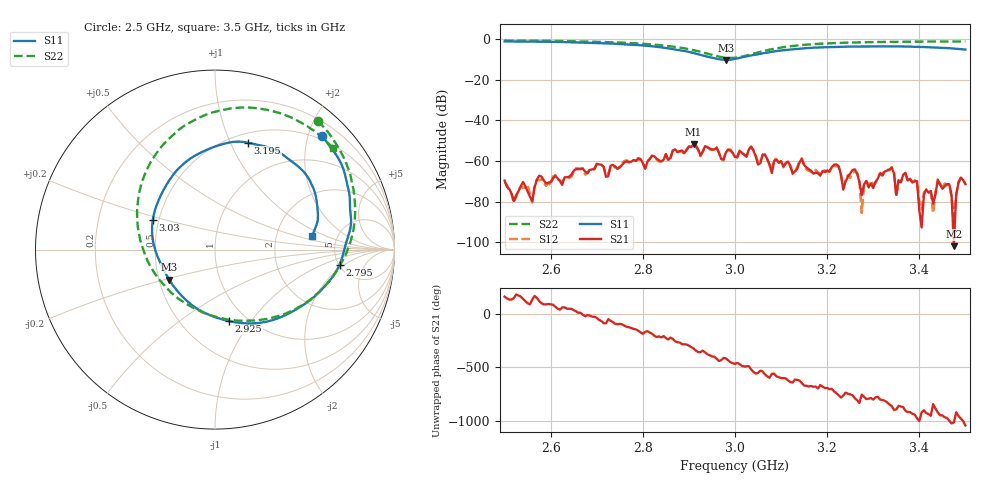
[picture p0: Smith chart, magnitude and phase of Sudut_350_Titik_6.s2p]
# Hz S RI R 50
! CMT, C1220, 16058040, 17.2.0/1
! Date: 15/08/2018 10:20:42
! Data: Format (Calibration Info)
! Freq  S11: Re/Im (F2)  S21: Re/Im (F2)  S12: Re/Im (F2)  S22: Re/Im (F2)
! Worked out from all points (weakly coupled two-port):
!   201 points, 2.5 GHz to 3.5 GHz, reference 50 ohm
!   highest |S21| = -51.90 dB at 2.91 GHz (marker M1); lowest = -101.9 dB at 3.475 GHz (marker M2)
!   lowest |S11| = -10.3 dB at 2.98 GHz (marker M3), VSWR 1.88, Z = 28.3 - j10.5 ohm
!   |S11| at or under -10 dB: 2.966 GHz to 2.996 GHz (29.37 MHz wide, 0.985 % of centre)
!   |S22| runs from -9.3 to -0.7 dB; largest |S21 - S12| = 0.00016
!   S11 on the Smith chart (normalised r, x): 2.5 GHz: 0.43, +2.24; 2.795 GHz: 5.09, -1.67; 2.925 GHz: 0.83, -0.79; 3.03 GHz: 0.46, +0.18; 3.195 GHz: 0.60, +1.16; 3.5 GHz: 3.24, +0.72
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2.5e9  0.5955 0.6341  -0.000304 0.000125  -0.000287 8.52e-05  0.5728 0.7168
2.56e9  0.6588 0.5506  -6.64e-05 7.77e-05  -8.08e-05 5.05e-05  0.6396 0.6414
2.575e9  0.6776 0.5247  -0.000197 0.000386  -0.000114 0.000314  0.6555 0.6185
2.67e9  0.747 0.3193  0.000627 -0.000131  0.00062 -0.000214  0.7447 0.4443
2.795e9  0.6945 -0.0839  -0.00111 -0.0001  -0.00105 -8.57e-05  0.7645 0.0785
2.835e9  0.59 -0.2271  -0.00088 0.000549  -0.000816 0.000521  0.702 -0.0774
2.91e9  0.1843 -0.4114  0.00207 0.00147  0.00212 0.0014  0.3912 -0.3569
2.925e9  0.0772 -0.3983  0.00136 2.1e-05  0.0013 0.000138  0.2903 -0.3863
2.98e9  -0.2546 -0.1683  0.000862 -0.00134  0.000885 -0.00128  -0.1351 -0.3172
3e9  -0.3222 -0.0335  -0.000393 -0.00118  -0.000474 -0.00122  -0.2729 -0.2099
3.03e9  -0.3471 0.1628  -0.00124 -0.00145  -0.00122 -0.00143  -0.4034 0.0102
3.17e9  0.1034 0.6002  0.000383 0.000301  0.000372 0.00033  -0.0754 0.7411
3.195e9  0.182 0.5959  0.000478 0.000241  0.000535 0.000235  0.0181 0.7721
3.265e9  0.3661 0.537  2.05e-05 -0.000491  8.06e-05 -0.000499  0.2415 0.7865
3.275e9  0.3872 0.5215  0.000118 -8.43e-05  3.88e-05 -3.62e-05  0.2691 0.7825
3.335e9  0.4972 0.4306  -0.000358 -0.000496  -0.00037 -0.000461  0.408 0.7431
3.35e9  0.5167 0.4042  -0.000146 -1.57e-05  -0.000129 -2.37e-05  0.4374 0.7299
3.37e9  0.5371 0.3663  -0.000505 5.84e-05  -0.00047 3.21e-05  0.4752 0.7098
3.4e9  0.5597 0.3062  1.25e-05 5.95e-05  5.69e-05 8.33e-05  0.5239 0.6805
3.44e9  0.5723 0.2113  -0.000328 0.000119  -0.000284 8.44e-05  0.5844 0.6355
3.475e9  0.5643 0.1344  3.33e-06 7.27e-06  -3.39e-05 -2.5e-05  0.6268 0.5956
3.5e9  0.5416 0.0782  0.000214 0.000163  0.000228 0.000145  0.6559 0.5651
